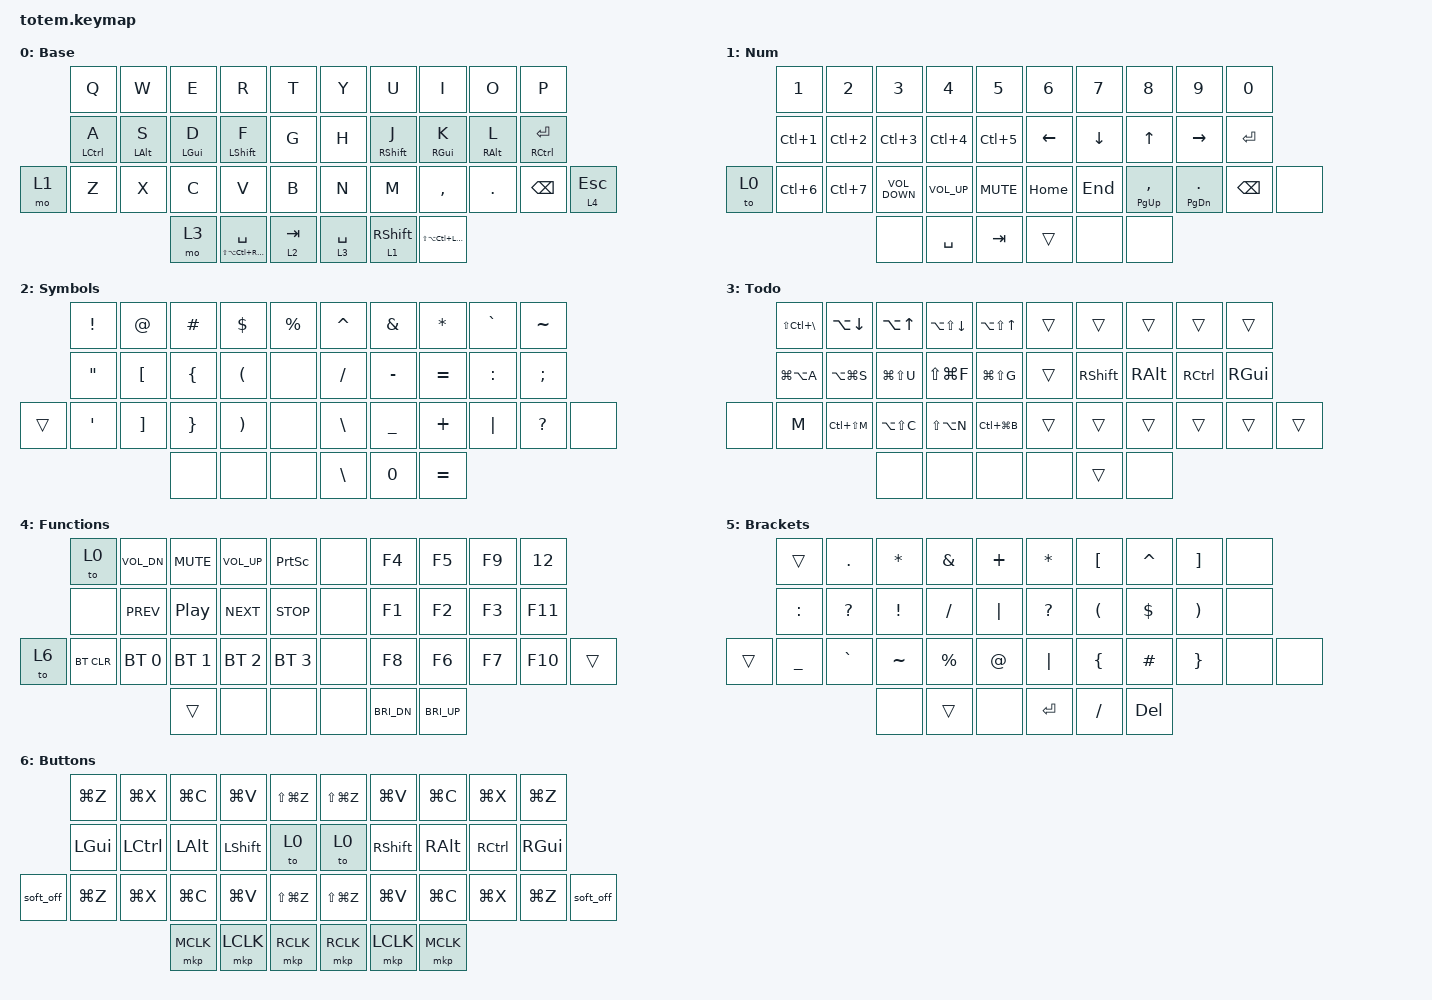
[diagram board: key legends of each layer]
#include <dt-bindings/zmk/mouse.h>
#include <behaviors.dtsi>
#include <dt-bindings/zmk/bt.h>
#include <dt-bindings/zmk/keys.h>
#include <dt-bindings/zmk/pointing.h>

#define BASE 0
#define NAV  1
#define NUM  2
#define SYM  3
#define FUN  4
#define BRCKT 5
#define BUT  6
#define GAME 7
#define HYPER &kp LS(LC(LA(LGUI)))

&caps_word { continue-list = <UNDERSCORE MINUS>; };

&mt {
    quick-tap-ms = <150>;
    global-quick-tap;
    flavor = "tap-preferred";
    tapping-term-ms = <170>;
};

/ {
    behaviors {
        hml: homerow_mods_left {
            compatible = "zmk,behavior-hold-tap";
            label = "HOMEROW_MODS_LEFT";
            bindings = <&kp>, <&kp>;

            #binding-cells = <2>;
            tapping-term-ms = <190>;
            quick-tap-ms = <200>;
            flavor = "tap-preferred";
            require-prior-idle-ms = <170>;
            hold-trigger-key-positions = <5 6 7 15 16 17 26 27 28 36 37 5 6 7 8 9 15 16 17 18 19 26 27 28 29 30 31 35 36 37>;
            hold-trigger-on-release;
        };

        hmr: homerow_mods_right {
            compatible = "zmk,behavior-hold-tap";
            label = "HOMEROW_MODS_RIGHT";
            bindings = <&kp>, <&kp>;

            #binding-cells = <2>;
            tapping-term-ms = <190>;
            quick-tap-ms = <200>;
            flavor = "tap-preferred";
            require-prior-idle-ms = <170>;
            hold-trigger-key-positions = <0 1 2 3 4 10 11 12 13 14 20 21 22 23 24 25 32 33 34>;
            hold-trigger-on-release;
        };

        hmrc: homerow_mods_custom {
            compatible = "zmk,behavior-hold-tap";
            label = "HOMEROW_MODS_CUSTOM";
            bindings = <&kp>, <&kp>;

            #binding-cells = <2>;
            tapping-term-ms = <205>;
            quick-tap-ms = <0>;
            flavor = "tap-preferred";
            require-prior-idle-ms = <0>;
            hold-trigger-key-positions = <0 1 2 3 4 10 11 12 13 14 20 21 22 23 24 25 32 33 34>;
            hold-trigger-on-release;
        };

        hmla: homerow_mods_a_key {
            compatible = "zmk,behavior-hold-tap";
            label = "HOMEROW_MODS_A";
            bindings = <&kp>, <&kp>;

            #binding-cells = <2>;
            tapping-term-ms = <210>;
            quick-tap-ms = <200>;
            flavor = "tap-preferred";
            require-prior-idle-ms = <185>;
            hold-trigger-key-positions = <5 6 7 15 16 17 26 27 28 36 37 5 6 7 8 9 15 16 17 18 19 26 27 28 29 30 31 35 36 37>;
            hold-trigger-on-release;
        };

        tgl_num: tgl_num {
            compatible = "zmk,behavior-toggle-layer";
            label = "TGL_NUM";
            #binding-cells = <1>;
        };

        tgl_numb_off: tgl_numb_off {
            compatible = "zmk,behavior-toggle-layer";
            label = "TGL_NUMB_OFF";
            #binding-cells = <1>;
            toggle-mode = "off";
        };

        th1: th1 {
            compatible = "zmk,behavior-hold-tap";
            label = "TH1";
            bindings = <&kp>, <&kp>;

            #binding-cells = <2>;
            tapping-term-ms = <200>;
        };

        td1: td1 {
            compatible = "zmk,behavior-tap-dance";
            label = "TD1";
            #binding-cells = <0>;
            bindings = <&lt 1 NUMBER_1>, <&kp NUMBER_2>, <&kp NUMBER_3>;
        };

        th2: th2 {
            compatible = "zmk,behavior-hold-tap";
            label = "TH2";
            bindings = <&kp>, <&kp>;

            #binding-cells = <2>;
            tapping-term-ms = <260>;
            flavor = "tap-preferred";
        };
    };

    combos {
        compatible = "zmk,combos";

        focus_next_win {
            bindings = <&kp LG(TILDE)>;
            key-positions = <8 7>;
            require-prior-idle-ms = <260>;
        };

        copy {
            bindings = <&kp LG(C)>;
            key-positions = <7 6>;
            require-prior-idle-ms = <260>;
        };

        paste {
            bindings = <&kp LG(V)>;
            key-positions = <5 6>;
            require-prior-idle-ms = <260>;
        };

        escape {
            bindings = <&kp ESC>;
            key-positions = <0 1>;
            require-prior-idle-ms = <260>;
        };

        question_mark {
            bindings = <&kp QUESTION>;
            key-positions = <29 28>;
            require-prior-idle-ms = <260>;
        };

        forward_slash {
            bindings = <&kp SLASH>;
            key-positions = <28 27>;
            require-prior-idle-ms = <260>;
        };

        move_file {
            bindings = <&kp LG(LA(V))>;
            key-positions = <5 6 7>;
        };

        screenshot {
            bindings = <&kp LS(LG(NUMBER_3))>;
            key-positions = <3 2 1>;
        };

        screenshot_select {
            bindings = <&kp LS(LG(NUMBER_4))>;
            key-positions = <4 3 2>;
        };

        single_quotes {
            bindings = <&kp SINGLE_QUOTE>;
            key-positions = <23 22>;
        };

        double_quotes {
            bindings = <&kp DOUBLE_QUOTES>;
            key-positions = <24 23>;
        };
    };

    keymap {
        compatible = "zmk,keymap";

        base_layer {
            display-name = "Base";

            //             ┏━━━━━━━━━━━┳━━━━━━━━━━━┳━━━━━━━━━━━┳━━━━━━━━━━━┳━━━━━━━━━━━┓   ┏━━━━━━━━━━━┳━━━━━━━━━━━┳━━━━━━━━━━━┳━━━━━━━━━━━┳━━━━━━━━━━━┓
            //             ┃ Q         ┃ W         ┃ E         ┃ R         ┃ T         ┃   ┃ Y         ┃ U         ┃ I         ┃ O         ┃ P         ┃
            //             ┣━━━━━━━━━━━╋━━━━━━━━━━━╋━━━━━━━━━━━╋━━━━━━━━━━━╋━━━━━━━━━━━┫   ┣━━━━━━━━━━━╋━━━━━━━━━━━╋━━━━━━━━━━━╋━━━━━━━━━━━╋━━━━━━━━━━━┫
            //             ┃ A         ┃ S         ┃ D         ┃ F         ┃ G         ┃   ┃ H         ┃ J         ┃ K         ┃ L         ┃ ;         ┃
            // ┏━━━━━━━━━━━╋━━━━━━━━━━━╋━━━━━━━━━━━╋━━━━━━━━━━━╋━━━━━━━━━━━╋━━━━━━━━━━━┫   ┣━━━━━━━━━━━╋━━━━━━━━━━━╋━━━━━━━━━━━╋━━━━━━━━━━━╋━━━━━━━━━━━╋━━━━━━━━━━━┓
            // ┃ HYPER     ┃ Z         ┃ X         ┃ C         ┃ V         ┃ B         ┃   ┃ N         ┃ M         ┃ ,         ┃ .         ┃ '         ┃ '         ┃
            // ┗━━━━━━━━━━━┻━━━━━━━━━━━┻━━━━━━━━━━━╋━━━━━━━━━━━╋━━━━━━━━━━━╋━━━━━━━━━━━┫   ┣━━━━━━━━━━━╋━━━━━━━━━━━╋━━━━━━━━━━━╋━━━━━━━━━━━┻━━━━━━━━━━━┻━━━━━━━━━━━┛
            //                                     ┃ ESC       ┃ -         ┃ TAB       ┃   ┃ ENTER     ┃ SPACE     ┃ BACKSPACE ┃
            //                                     ┗━━━━━━━━━━━┻━━━━━━━━━━━┻━━━━━━━━━━━┛   ┗━━━━━━━━━━━┻━━━━━━━━━━━┻━━━━━━━━━━━┛

            bindings = <
       &kp Q                 &kp W            &kp E            &kp R                             &kp T        &kp Y        &kp U              &kp I                     &kp O              &kp P
       &hmla LEFT_CONTROL A  &hml LEFT_ALT S  &hml LEFT_GUI D  &hml LSHFT F                      &kp G        &kp H        &hmr RSHFT J       &hmr RIGHT_GUI K          &hmrc RIGHT_ALT L  &hmrc RIGHT_CONTROL ENTER
&mo 1  &kp Z                 &kp X            &kp C            &kp V                             &kp B        &kp N        &kp M              &kp COMMA                 &kp DOT            &kp BACKSPACE              &lt 4 ESC
                                              &mo 3            &th2 LS(LA(LC(RIGHT_GUI))) SPACE  &lt 2 TAB    &lt 3 SPACE  &lt 1 RIGHT_SHIFT  &kp LS(LA(LC(LEFT_GUI)))
            >;
        };

        num_layer {
            display-name = "Num";

            //             ┏━━━━━━━━━━━┳━━━━━━━━━━━┳━━━━━━━━━━━┳━━━━━━━━━━━┳━━━━━━━━━━━┓   ┏━━━━━━━━━━━┳━━━━━━━━━━━┳━━━━━━━━━━━┳━━━━━━━━━━━┳━━━━━━━━━━━┓
            //             ┃ UNDO      ┃ CUT       ┃ COPY      ┃ PASTE     ┃ REDO      ┃   ┃ REDO      ┃ PASTE     ┃ COPY      ┃ CUT       ┃ UNDO      ┃
            //             ┣━━━━━━━━━━━╋━━━━━━━━━━━╋━━━━━━━━━━━╋━━━━━━━━━━━╋━━━━━━━━━━━┫   ┣━━━━━━━━━━━╋━━━━━━━━━━━╋━━━━━━━━━━━╋━━━━━━━━━━━╋━━━━━━━━━━━┫
            //             ┃ SUPER     ┃ CTRL      ┃ ALT       ┃ SHIFT     ┃           ┃   ┃ ←         ┃ ↓         ┃ ↑         ┃ →         ┃ CAPS WRD  ┃
            // ┏━━━━━━━━━━━╋━━━━━━━━━━━╋━━━━━━━━━━━╋━━━━━━━━━━━╋━━━━━━━━━━━╋━━━━━━━━━━━┫   ┣━━━━━━━━━━━╋━━━━━━━━━━━╋━━━━━━━━━━━╋━━━━━━━━━━━╋━━━━━━━━━━━╋━━━━━━━━━━━┓
            // ┃           ┃ UNDO      ┃ CUT       ┃ COPY      ┃ PASTE     ┃ REDO      ┃   ┃ INSERT    ┃ PG DOWN   ┃ PG UP     ┃ HOME      ┃ END       ┃           ┃
            // ┗━━━━━━━━━━━┻━━━━━━━━━━━┻━━━━━━━━━━━╋━━━━━━━━━━━╋━━━━━━━━━━━╋━━━━━━━━━━━┫   ┣━━━━━━━━━━━╋━━━━━━━━━━━╋━━━━━━━━━━━╋━━━━━━━━━━━┻━━━━━━━━━━━┻━━━━━━━━━━━┛
            //                                     ┃           ┃           ┃           ┃   ┃ ENTER     ┃           ┃           ┃
            //                                     ┗━━━━━━━━━━━┻━━━━━━━━━━━┻━━━━━━━━━━━┛   ┗━━━━━━━━━━━┻━━━━━━━━━━━┻━━━━━━━━━━━┛

            bindings = <
       &kp NUMBER_1      &kp NUMBER_2      &kp NUMBER_3       &kp NUMBER_4      &kp N5        &kp NUMBER_6  &kp N7    &kp N8              &kp N9                 &kp N0
       &kp LC(NUMBER_1)  &kp LC(NUMBER_2)  &kp LC(NUMBER_3)   &kp LC(NUMBER_4)  &kp LC(N5)    &kp LEFT      &kp DOWN  &kp UP              &kp RIGHT              &kp ENTER
&to 0  &kp LC(NUMBER_6)  &kp LC(N7)        &kp C_VOLUME_DOWN  &kp C_VOL_UP      &kp K_MUTE    &kp HOME      &kp END   &th1 PAGE_UP COMMA  &th1 PAGE_DOWN PERIOD  &kp BACKSPACE  &none
                                           &none              &kp SPACE         &kp TAB       &trans        &none     &none
            >;
        };

        sym_layer {
            display-name = "Symbols";
            bindings = <
        &kp EXCLAMATION    &kp AT_SIGN        &kp HASH         &kp DOLLAR             &kp PERCENT    &kp CARET      &kp AMPS   &kp STAR   &kp GRAVE  &kp TILDE
        &kp DOUBLE_QUOTES  &kp LEFT_BRACKET   &kp LEFT_BRACE   &kp LEFT_PARENTHESIS   &none          &kp SLASH      &kp MINUS  &kp EQUAL  &kp COLON  &kp SEMI
&trans  &kp SINGLE_QUOTE   &kp RIGHT_BRACKET  &kp RIGHT_BRACE  &kp RIGHT_PARENTHESIS  &none          &kp BACKSLASH  &kp UNDER  &kp PLUS   &kp PIPE   &kp QUESTION  &none
                                              &none            &none                  &none          &kp BSLH       &kp N0     &kp EQUAL
            >;
        };

        logic_layer {
            display-name = "Todo";
            bindings = <
       &kp LS(LC(BACKSLASH))  &kp LA(DOWN_ARROW)  &kp LA(UP_ARROW)  &kp LA(LS(DOWN_ARROW))  &kp LA(LS(UP_ARROW))    &trans  &trans     &trans    &trans     &trans
       &kp LG(LA(A))          &kp LA(LG(S))       &kp LG(LS(U))     &kp LS(LG(F))           &kp LG(LS(G))           &trans  &kp RSHFT  &kp RALT  &kp RCTRL  &kp RGUI
&none  &kp M                  &kp LC(LS(M))       &kp LA(LS(C))     &kp LS(LA(N))           &kp LC(LG(B))           &trans  &trans     &trans    &trans     &trans    &trans
                                                  &none             &none                   &none                   &none   &trans     &none
            >;
        };

        fun_layer {
            display-name = "Functions";
            bindings = <
       &to 0       &kp C_VOL_DN  &kp C_MUTE        &kp C_VOL_UP  &kp PSCRN       &none  &kp F4        &kp F5        &kp F9  &kp 12
       &none       &kp C_PREV    &kp C_PLAY_PAUSE  &kp C_NEXT    &kp C_STOP      &none  &kp F1        &kp F2        &kp F3  &kp F11
&to 6  &bt BT_CLR  &bt BT_SEL 0  &bt BT_SEL 1      &bt BT_SEL 2  &bt BT_SEL 3    &none  &kp F8        &kp F6        &kp F7  &kp F10  &trans
                                 &trans            &none         &none           &none  &kp C_BRI_DN  &kp C_BRI_UP
            >;
        };

        brckt_layer {
            display-name = "Brackets";
            bindings = <
        &trans     &kp DOT    &kp STAR   &kp AMPS     &kp PLUS       &kp ASTRK  &kp LBKT   &kp CARET  &kp RBKT  &none
        &kp COLON  &kp QMARK  &kp EXCL   &kp SLASH    &kp PIPE       &kp QMARK  &kp LPAR   &kp DLLR   &kp RPAR  &none
&trans  &kp UNDER  &kp GRAVE  &kp TILDE  &kp PERCENT  &kp AT_SIGN    &kp PIPE   &kp LBRC   &kp HASH   &kp RBRC  &none  &none
                              &none      &trans       &none          &kp ENTER  &kp SLASH  &kp DEL
            >;
        };

        but_layer {
            display-name = "Buttons";

            //             ┏━━━━━━━━━━━┳━━━━━━━━━━━┳━━━━━━━━━━━┳━━━━━━━━━━━┳━━━━━━━━━━━┓   ┏━━━━━━━━━━━┳━━━━━━━━━━━┳━━━━━━━━━━━┳━━━━━━━━━━━┳━━━━━━━━━━━┓
            //             ┃ UNDO      ┃ CUT       ┃ COPY      ┃ PASTE     ┃ REDO      ┃   ┃ REDO      ┃ PASTE     ┃ COPY      ┃ CUT       ┃ UNDO      ┃
            //             ┣━━━━━━━━━━━╋━━━━━━━━━━━╋━━━━━━━━━━━╋━━━━━━━━━━━╋━━━━━━━━━━━┫   ┣━━━━━━━━━━━╋━━━━━━━━━━━╋━━━━━━━━━━━╋━━━━━━━━━━━╋━━━━━━━━━━━┫
            //             ┃ SUPER     ┃ CTRL      ┃ ALT       ┃ SHIFT     ┃ BASE LAY  ┃   ┃ BASE LAY  ┃ SHIFT     ┃ ALT       ┃ CTRL      ┃ SUPER     ┃
            // ┏━━━━━━━━━━━╋━━━━━━━━━━━╋━━━━━━━━━━━╋━━━━━━━━━━━╋━━━━━━━━━━━╋━━━━━━━━━━━┫   ┣━━━━━━━━━━━╋━━━━━━━━━━━╋━━━━━━━━━━━╋━━━━━━━━━━━╋━━━━━━━━━━━╋━━━━━━━━━━━┓
            // ┃ SOFT OFF  ┃ UNDO      ┃ CUT       ┃ COPY      ┃ PASTE     ┃ REDO      ┃   ┃ REDO      ┃ PASTE     ┃ COPY      ┃ CUT       ┃ UNDO      ┃ SOFT OFF  ┃
            // ┗━━━━━━━━━━━┻━━━━━━━━━━━┻━━━━━━━━━━━╋━━━━━━━━━━━╋━━━━━━━━━━━╋━━━━━━━━━━━┫   ┣━━━━━━━━━━━╋━━━━━━━━━━━╋━━━━━━━━━━━╋━━━━━━━━━━━┻━━━━━━━━━━━┻━━━━━━━━━━━┛
            //                                     ┃ MIDDLE    ┃ LEFT      ┃ RIGHT     ┃   ┃ RIGHT     ┃ LEFT      ┃ MIDDLE    ┃
            //                                     ┗━━━━━━━━━━━┻━━━━━━━━━━━┻━━━━━━━━━━━┛   ┗━━━━━━━━━━━┻━━━━━━━━━━━┻━━━━━━━━━━━┛

            bindings = <
           &kp LG(Z)  &kp LG(X)  &kp LG(C)  &kp LG(V)  &kp LS(LG(Z))    &kp LS(LG(Z))  &kp LG(V)  &kp LG(C)  &kp LG(X)  &kp LG(Z)
           &kp LGUI   &kp LCTRL  &kp LALT   &kp LSHFT  &to 0            &to 0          &kp RSHFT  &kp RALT   &kp RCTRL  &kp RGUI
&soft_off  &kp LG(Z)  &kp LG(X)  &kp LG(C)  &kp LG(V)  &kp LS(LG(Z))    &kp LS(LG(Z))  &kp LG(V)  &kp LG(C)  &kp LG(X)  &kp LG(Z)  &soft_off
                                 &mkp MCLK  &mkp LCLK  &mkp RCLK        &mkp RCLK      &mkp LCLK  &mkp MCLK
            >;
        };
    };
};
